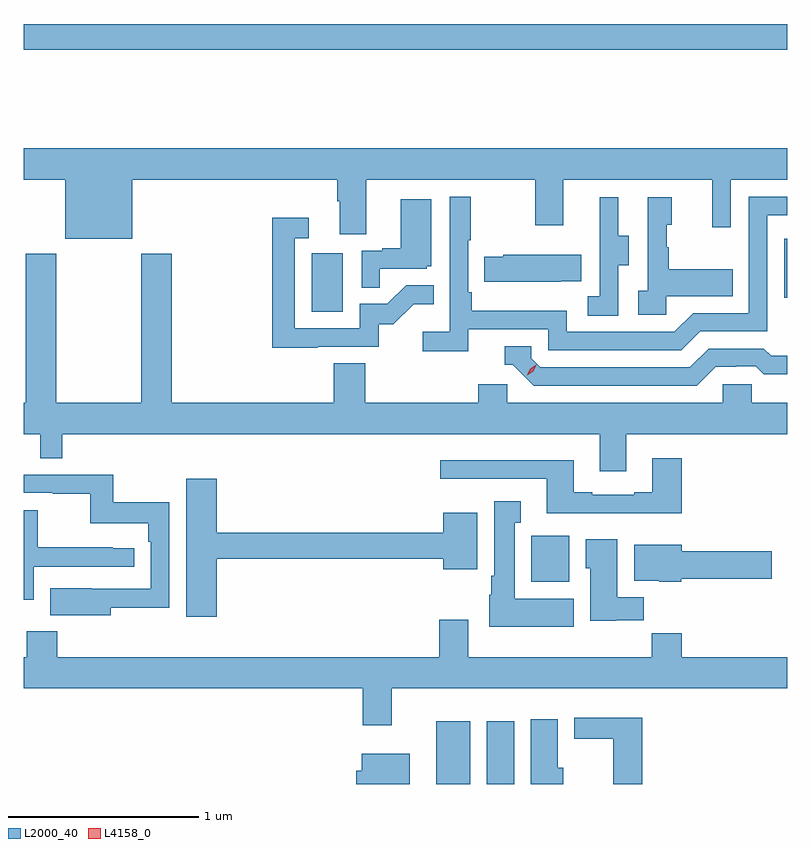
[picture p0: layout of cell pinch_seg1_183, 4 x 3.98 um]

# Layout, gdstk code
import gdstk
lib = gdstk.Library(unit=1e-6, precision=1e-09)
def R(c, l, rs):  # rectangles x0, y0, x1, y1
    for r in rs: c.add(gdstk.rectangle(r[:2], r[2:], *l))
def P(c, l, *ps):  # polygons
    for p in ps: c.add(gdstk.Polygon(p, *l))
L2000_40 = (2000, 40)
L4158_0 = (4158, 0)

pinch_seg1_183 = lib.new_cell('pinch_seg1_183')
R(pinch_seg1_183, L2000_40, [(1127.012,560.555,1127.188,560.884), (1127.276,560.555,1127.419,560.884), (1127.51,561.614,1127.707,561.856), (1126.358,563.028,1126.522,563.335), (1128.834,563.103,1128.85,563.412), (1124.85,564.4,1128.85,564.536)])
P(pinch_seg1_183, L2000_40, [(1125.418,563.72),(1126.493,563.72),(1126.493,563.608),(1126.505,563.608),(1126.505,563.434),(1126.645,563.434),(1126.645,563.72),(1127.53,563.72),(1127.53,563.481),(1127.677,563.481),(1127.677,563.72),(1128.458,563.72),(1128.458,563.472),(1128.555,563.472),(1128.555,563.72),(1128.85,563.72),(1128.85,563.884),(1124.85,563.884),(1124.85,563.72),(1125.068,563.72),(1125.068,563.411),(1125.418,563.411)],
  [(1127.18,562.938),(1127.598,562.938),(1127.598,562.827),(1128.295,562.827),(1128.394,562.926),(1128.744,562.926),(1128.744,563.535),(1128.85,563.535),(1128.85,563.631),(1128.648,563.631),(1128.648,563.022),(1128.357,563.022),(1128.258,562.923),(1127.694,562.923),(1127.694,563.035),(1127.198,563.035),(1127.198,563.131),(1127.178,563.131),(1127.178,563.404),(1127.191,563.404),(1127.191,563.632),(1127.082,563.632),(1127.082,562.924),(1126.941,562.924),(1126.941,562.822),(1127.18,562.822)],
  [(1128.216,563.111),(1128.563,563.111),(1128.563,563.251),(1128.229,563.251),(1128.229,563.366),(1128.219,563.366),(1128.219,563.484),(1128.244,563.484),(1128.244,563.629),(1128.12,563.629),(1128.12,563.138),(1128.069,563.138),(1128.069,563.013),(1128.216,563.013)],
  [(1127.964,563.272),(1128.019,563.272),(1128.019,563.427),(1127.965,563.427),(1127.965,563.629),(1127.867,563.629),(1127.867,563.415),(1127.868,563.415),(1127.868,563.111),(1127.805,563.111),(1127.805,563.008),(1127.964,563.008)],
  [(1126.715,563.253),(1126.962,563.253),(1126.962,563.268),(1126.984,563.268),(1126.984,563.617),(1126.826,563.617),(1126.826,563.362),(1126.727,563.362),(1126.727,563.349),(1126.62,563.349),(1126.62,563.155),(1126.715,563.155)],
  [(1126.391,562.845),(1126.71,562.845),(1126.71,562.962),(1126.786,562.962),(1126.893,563.069),(1126.997,563.069),(1126.997,563.168),(1126.853,563.168),(1126.755,563.07),(1126.611,563.07),(1126.611,562.941),(1126.269,562.941),(1126.269,563.415),(1126.342,563.415),(1126.342,563.521),(1126.153,563.521),(1126.153,562.84),(1126.391,562.84)],
  [(1128.007,562.388),(1128.85,562.388),(1128.85,562.552),(1128.663,562.552),(1128.663,562.65),(1128.513,562.65),(1128.513,562.552),(1127.382,562.552),(1127.382,562.65),(1127.231,562.65),(1127.231,562.552),(1126.64,562.552),(1126.64,562.76),(1126.475,562.76),(1126.475,562.552),(1125.626,562.552),(1125.626,563.332),(1125.466,563.332),(1125.466,562.552),(1125.021,562.552),(1125.021,563.332),(1124.861,563.332),(1124.861,562.552),(1124.85,562.552),(1124.85,562.388),(1124.937,562.388),(1124.937,562.261),(1125.053,562.261),(1125.053,562.388),(1127.867,562.388),(1127.867,562.194),(1128.007,562.194)],
  [(1127.663,563.189),(1127.771,563.189),(1127.771,563.326),(1127.361,563.326),(1127.361,563.316),(1127.263,563.316),(1127.263,563.186),(1127.663,563.186)],
  [(1128.475,562.74),(1128.582,562.74),(1128.582,562.743),(1128.685,562.743),(1128.727,562.701),(1128.85,562.701),(1128.85,562.797),(1128.766,562.797),(1128.727,562.836),(1128.438,562.836),(1128.339,562.737),(1127.556,562.737),(1127.508,562.785),(1127.508,562.848),(1127.369,562.848),(1127.369,562.752),(1127.412,562.752),(1127.523,562.641),(1128.376,562.641)],
  [(1128.296,562.261),(1128.143,562.261),(1128.143,562.084),(1128.047,562.084),(1128.047,562.071),(1127.827,562.071),(1127.827,562.084),(1127.731,562.084),(1127.731,562.252),(1127.031,562.252),(1127.031,562.155),(1127.591,562.155),(1127.591,561.974),(1128.296,561.974)],
  [(1125.307,561.478),(1125.612,561.478),(1125.612,562.03),(1125.319,562.03),(1125.319,562.176),(1124.85,562.176),(1124.85,562.08),(1125.001,562.08),(1125.001,562.075),(1125.198,562.075),(1125.198,561.92),(1125.503,561.92),(1125.503,561.824),(1125.516,561.824),(1125.516,561.579),(1125.203,561.579),(1125.203,561.58),(1124.989,561.58),(1124.989,561.44),(1125.307,561.44)],
  [(1125.862,561.736),(1127.048,561.736),(1127.048,561.68),(1127.227,561.68),(1127.227,561.976),(1127.048,561.976),(1127.048,561.872),(1125.862,561.872),(1125.862,562.153),(1125.701,562.153),(1125.701,561.432),(1125.862,561.432)],
  [(1127.731,561.526),(1127.422,561.526),(1127.422,561.923),(1127.455,561.923),(1127.455,562.036),(1127.315,562.036),(1127.315,561.646),(1127.3,561.646),(1127.3,561.546),(1127.288,561.546),(1127.288,561.38),(1127.731,561.38)],
  [(1124.904,561.693),(1125.43,561.693),(1125.43,561.789),(1125.317,561.789),(1125.317,561.794),(1124.924,561.794),(1124.924,561.99),(1124.85,561.99),(1124.85,561.521),(1124.904,561.521)],
  [(1127.955,561.414),(1128.098,561.414),(1128.098,561.532),(1127.959,561.532),(1127.959,561.838),(1127.795,561.838),(1127.795,561.684),(1127.819,561.684),(1127.819,561.41),(1127.955,561.41)],
  [(1128.294,561.631),(1128.769,561.631),(1128.769,561.773),(1128.298,561.773),(1128.298,561.808),(1128.047,561.808),(1128.047,561.62),(1128.18,561.62),(1128.18,561.614),(1128.294,561.614)],
  [(1126.777,561.056),(1128.85,561.056),(1128.85,561.22),(1128.296,561.22),(1128.296,561.344),(1128.139,561.344),(1128.139,561.22),(1127.179,561.22),(1127.179,561.415),(1127.027,561.415),(1127.027,561.22),(1125.026,561.22),(1125.026,561.355),(1124.866,561.355),(1124.866,561.22),(1124.85,561.22),(1124.85,561.056),(1126.625,561.056),(1126.625,560.862),(1126.777,560.862)],
  [(1128.089,560.902),(1127.733,560.902),(1127.733,560.793),(1127.938,560.793),(1127.938,560.555),(1128.089,560.555)],
  [(1127.677,560.64),(1127.647,560.64),(1127.647,560.893),(1127.507,560.893),(1127.507,560.555),(1127.677,560.555)],
  [(1126.873,560.713),(1126.622,560.713),(1126.622,560.625),(1126.592,560.625),(1126.592,560.555),(1126.873,560.555)])
P(pinch_seg1_183, L4158_0, [(1127.487,562.697),(1127.487,562.697),(1127.503,562.73),(1127.534,562.75),(1127.534,562.75),(1127.534,562.75),(1127.518,562.717),(1127.487,562.697)])

lib.write_gds('pinch_seg1_183.gds')
